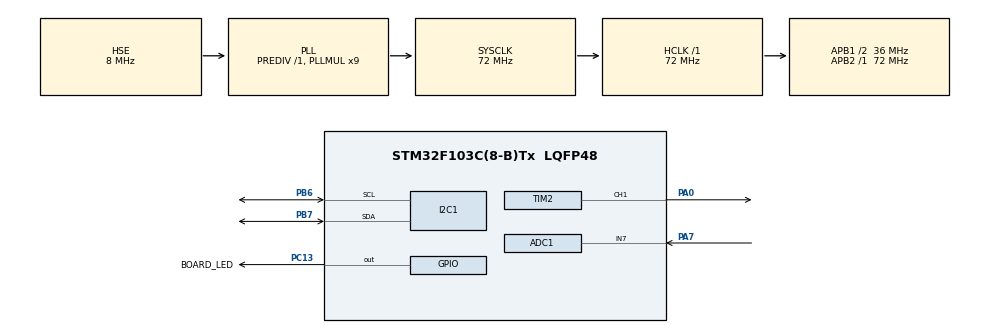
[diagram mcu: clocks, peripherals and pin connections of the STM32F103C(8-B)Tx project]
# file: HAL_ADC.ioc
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ADC1.Channel-0\#ChannelRegularConversion=ADC_CHANNEL_7
ADC1.NbrOfConversionFlag=1
ADC1.Rank-0\#ChannelRegularConversion=1
ADC1.SamplingTime-0\#ChannelRegularConversion=ADC_SAMPLETIME_1CYCLE_5
ADC1.master=1
Mcu.Family=STM32F1
Mcu.Name=STM32F103C(8-B)Tx
Mcu.Package=LQFP48
NVIC.ADC1_2_IRQn=true\:0\:0\:false\:false\:true\:true\:true\:true
NVIC.PriorityGroup=NVIC_PRIORITYGROUP_4
PA0-WKUP.Signal=S_TIM2_CH1_ETR
PA13.Mode=Trace_Asynchronous_SW
PA13.Signal=SYS_JTMS-SWDIO
PA14.Mode=Trace_Asynchronous_SW
PA14.Signal=SYS_JTCK-SWCLK
PA7.Signal=ADCx_IN7
PB3.Mode=Trace_Asynchronous_SW
PB3.Signal=SYS_JTDO-TRACESWO
PB6.Mode=I2C
PB6.Signal=I2C1_SCL
PB7.Mode=I2C
PB7.Signal=I2C1_SDA
PC13-TAMPER-RTC.GPIO_Label=BOARD_LED
PC13-TAMPER-RTC.Signal=GPIO_Output
PD0-OSC_IN.Mode=HSE-External-Oscillator
PD0-OSC_IN.Signal=RCC_OSC_IN
PD1-OSC_OUT.Mode=HSE-External-Oscillator
PD1-OSC_OUT.Signal=RCC_OSC_OUT
ProjectManager.HeapSize=0x200
ProjectManager.StackSize=0x400
ProjectManager.TargetToolchain=STM32CubeIDE
RCC.ADCPresc=RCC_ADCPCLK2_DIV6
RCC.AHBFreq_Value=72000000
RCC.APB1CLKDivider=RCC_HCLK_DIV2
RCC.APB1Freq_Value=36000000
RCC.APB1TimFreq_Value=72000000
RCC.APB2Freq_Value=72000000
RCC.APB2TimFreq_Value=72000000
RCC.HCLKFreq_Value=72000000
RCC.PLLMUL=RCC_PLL_MUL9
RCC.PLLSourceVirtual=RCC_PLLSOURCE_HSE
RCC.SYSCLKFreq_VALUE=72000000
RCC.SYSCLKSource=RCC_SYSCLKSOURCE_PLLCLK
RCC.USBFreq_Value=72000000
SH.ADCx_IN7.0=ADC1_IN7,IN7
SH.S_TIM2_CH1_ETR.0=TIM2_CH1,PWM Generation1 CH1
TIM2.AutoReloadPreload=TIM_AUTORELOAD_PRELOAD_ENABLE
TIM2.Channel-PWM\ Generation1\ CH1=TIM_CHANNEL_1
TIM2.ClockDivision=TIM_CLOCKDIVISION_DIV1
TIM2.Period=0x4000
TIM2.Prescaler=0
VP_TIM2_VS_ClockSourceINT.Mode=Internal
board=custom

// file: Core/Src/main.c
/* USER CODE BEGIN Header */
/**
 ******************************************************************************
 * @file           : main.c
 * @brief          : Main program body
 ******************************************************************************
 * @attention
 *
 * Copyright (c) 2023 STMicroelectronics.
 * All rights reserved.
 *
 * This software is licensed under terms that can be found in the LICENSE file
 * in the root directory of this software component.
 * If no LICENSE file comes with this software, it is provided AS-IS.
 *
 ******************************************************************************
 */
/* USER CODE END Header */
#include "main.h"

/* USER CODE BEGIN Includes */
#include "lcd_i2c.h"
/* USER CODE END Includes */

ADC_HandleTypeDef hadc1;

I2C_HandleTypeDef hi2c1;

TIM_HandleTypeDef htim2;

/* USER CODE BEGIN PV */
uint8_t row = 0;
/* USER CODE END PV */

void SystemClock_Config(void);
static void MX_GPIO_Init(void);
static void MX_ADC1_Init(void);
static void MX_I2C1_Init(void);
static void MX_TIM2_Init(void);

/* USER CODE BEGIN 0 */
// https://deepbluembedded.com/stm32-adc-read-example-dma-interrupt-polling/
LCD_I2C_Struct *LCD_I2C;
/* USER CODE END 0 */

int main(void)
{
  /* USER CODE BEGIN 1 */
	uint16_t AD_RES = 0;
  /* USER CODE END 1 */

  /* MCU Configuration--------------------------------------------------------*/

  /* Reset of all peripherals, Initializes the Flash interface and the Systick. */
  HAL_Init();

  /* Configure the system clock */
  SystemClock_Config();

  /* Initialize all configured peripherals */
  MX_GPIO_Init();
  MX_ADC1_Init();
  MX_I2C1_Init();
  MX_TIM2_Init();
  /* USER CODE BEGIN 2 */
	HAL_TIM_PWM_Start(&htim2, TIM_CHANNEL_1);
// Calibrate The ADC On Power-Up For Better Accuracy
	HAL_ADCEx_Calibration_Start(&hadc1);

	LCD_I2C = new_LCD_I2C_Struct(0x23, 3, POSITIVE);
	LCD_I2C_begin(LCD_I2C, 20, 4);

	LCD_I2C_clear(LCD_I2C);
	LCD_I2C_printStr(LCD_I2C, "ADC Starts");
//LCD_autoscroll(LCD_I2C);
  /* USER CODE END 2 */

  /* Infinite loop */
	while (1) {

    /* USER CODE BEGIN 3 */
		// Start ADC Conversion
		HAL_ADC_Start_IT(&hadc1);
		// Poll ADC1 Perihperal & TimeOut = 1mSec
		HAL_ADC_PollForConversion(&hadc1, 1);
		// Read The ADC Conversion Result & Map It To PWM DutyCycle
		AD_RES = HAL_ADC_GetValue(&hadc1);

		TIM2->CCR1 = (AD_RES << 4);
		//TIM2->ARR = 100;
		HAL_Delay(500);
		printf("Value is %d %d \n", AD_RES, AD_RES/10);
	}
  /* USER CODE END 3 */
}

void SystemClock_Config(void)
{
  RCC_OscInitTypeDef RCC_OscInitStruct = {0};
  RCC_ClkInitTypeDef RCC_ClkInitStruct = {0};
  RCC_PeriphCLKInitTypeDef PeriphClkInit = {0};

  /** Initializes the RCC Oscillators according to the specified parameters
  * in the RCC_OscInitTypeDef structure.
  */
  RCC_OscInitStruct.OscillatorType = RCC_OSCILLATORTYPE_HSE;
  RCC_OscInitStruct.HSEState = RCC_HSE_ON;
  RCC_OscInitStruct.HSEPredivValue = RCC_HSE_PREDIV_DIV1;
  RCC_OscInitStruct.HSIState = RCC_HSI_ON;
  RCC_OscInitStruct.PLL.PLLState = RCC_PLL_ON;
  RCC_OscInitStruct.PLL.PLLSource = RCC_PLLSOURCE_HSE;
  RCC_OscInitStruct.PLL.PLLMUL = RCC_PLL_MUL9;
  if (HAL_RCC_OscConfig(&RCC_OscInitStruct) != HAL_OK)
  {
    Error_Handler();
  }

  /** Initializes the CPU, AHB and APB buses clocks
  */
  RCC_ClkInitStruct.ClockType = RCC_CLOCKTYPE_HCLK|RCC_CLOCKTYPE_SYSCLK
                              |RCC_CLOCKTYPE_PCLK1|RCC_CLOCKTYPE_PCLK2;
  RCC_ClkInitStruct.SYSCLKSource = RCC_SYSCLKSOURCE_PLLCLK;
  RCC_ClkInitStruct.AHBCLKDivider = RCC_SYSCLK_DIV1;
  RCC_ClkInitStruct.APB1CLKDivider = RCC_HCLK_DIV2;
  RCC_ClkInitStruct.APB2CLKDivider = RCC_HCLK_DIV1;

  if (HAL_RCC_ClockConfig(&RCC_ClkInitStruct, FLASH_LATENCY_2) != HAL_OK)
  {
    Error_Handler();
  }
  PeriphClkInit.PeriphClockSelection = RCC_PERIPHCLK_ADC;
  PeriphClkInit.AdcClockSelection = RCC_ADCPCLK2_DIV6;
  if (HAL_RCCEx_PeriphCLKConfig(&PeriphClkInit) != HAL_OK)
  {
    Error_Handler();
  }
}

static void MX_ADC1_Init(void)
{

  ADC_ChannelConfTypeDef sConfig = {0};

  /** Common config
  */
  hadc1.Instance = ADC1;
  hadc1.Init.ScanConvMode = ADC_SCAN_DISABLE;
  hadc1.Init.ContinuousConvMode = DISABLE;
  hadc1.Init.DiscontinuousConvMode = DISABLE;
  hadc1.Init.ExternalTrigConv = ADC_SOFTWARE_START;
  hadc1.Init.DataAlign = ADC_DATAALIGN_RIGHT;
  hadc1.Init.NbrOfConversion = 1;
  if (HAL_ADC_Init(&hadc1) != HAL_OK)
  {
    Error_Handler();
  }

  /** Configure Regular Channel
  */
  sConfig.Channel = ADC_CHANNEL_7;
  sConfig.Rank = ADC_REGULAR_RANK_1;
  sConfig.SamplingTime = ADC_SAMPLETIME_1CYCLE_5;
  if (HAL_ADC_ConfigChannel(&hadc1, &sConfig) != HAL_OK)
  {
    Error_Handler();
  }

}

static void MX_I2C1_Init(void)
{

  hi2c1.Instance = I2C1;
  hi2c1.Init.ClockSpeed = 100000;
  hi2c1.Init.DutyCycle = I2C_DUTYCYCLE_2;
  hi2c1.Init.OwnAddress1 = 0;
  hi2c1.Init.AddressingMode = I2C_ADDRESSINGMODE_7BIT;
  hi2c1.Init.DualAddressMode = I2C_DUALADDRESS_DISABLE;
  hi2c1.Init.OwnAddress2 = 0;
  hi2c1.Init.GeneralCallMode = I2C_GENERALCALL_DISABLE;
  hi2c1.Init.NoStretchMode = I2C_NOSTRETCH_DISABLE;
  if (HAL_I2C_Init(&hi2c1) != HAL_OK)
  {
    Error_Handler();
  }

}

static void MX_TIM2_Init(void)
{

  TIM_ClockConfigTypeDef sClockSourceConfig = {0};
  TIM_MasterConfigTypeDef sMasterConfig = {0};
  TIM_OC_InitTypeDef sConfigOC = {0};

  htim2.Instance = TIM2;
  htim2.Init.Prescaler = 0;
  htim2.Init.CounterMode = TIM_COUNTERMODE_UP;
  htim2.Init.Period = 0x4000;
  htim2.Init.ClockDivision = TIM_CLOCKDIVISION_DIV1;
  htim2.Init.AutoReloadPreload = TIM_AUTORELOAD_PRELOAD_ENABLE;
  if (HAL_TIM_Base_Init(&htim2) != HAL_OK)
  {
    Error_Handler();
  }
  sClockSourceConfig.ClockSource = TIM_CLOCKSOURCE_INTERNAL;
  if (HAL_TIM_ConfigClockSource(&htim2, &sClockSourceConfig) != HAL_OK)
  {
    Error_Handler();
  }
  if (HAL_TIM_PWM_Init(&htim2) != HAL_OK)
  {
    Error_Handler();
  }
  sMasterConfig.MasterOutputTrigger = TIM_TRGO_RESET;
  sMasterConfig.MasterSlaveMode = TIM_MASTERSLAVEMODE_DISABLE;
  if (HAL_TIMEx_MasterConfigSynchronization(&htim2, &sMasterConfig) != HAL_OK)
  {
    Error_Handler();
  }
  sConfigOC.OCMode = TIM_OCMODE_PWM1;
  sConfigOC.Pulse = 0;
  sConfigOC.OCPolarity = TIM_OCPOLARITY_HIGH;
  sConfigOC.OCFastMode = TIM_OCFAST_DISABLE;
  if (HAL_TIM_PWM_ConfigChannel(&htim2, &sConfigOC, TIM_CHANNEL_1) != HAL_OK)
  {
    Error_Handler();
  }
  HAL_TIM_MspPostInit(&htim2);

}

static void MX_GPIO_Init(void)
{
  GPIO_InitTypeDef GPIO_InitStruct = {0};

  /* GPIO Ports Clock Enable */
  __HAL_RCC_GPIOC_CLK_ENABLE();
  __HAL_RCC_GPIOD_CLK_ENABLE();
  __HAL_RCC_GPIOA_CLK_ENABLE();
  __HAL_RCC_GPIOB_CLK_ENABLE();

  /*Configure GPIO pin Output Level */
  HAL_GPIO_WritePin(BOARD_LED_GPIO_Port, BOARD_LED_Pin, GPIO_PIN_RESET);

  /*Configure GPIO pin : BOARD_LED_Pin */
  GPIO_InitStruct.Pin = BOARD_LED_Pin;
  GPIO_InitStruct.Mode = GPIO_MODE_OUTPUT_PP;
  GPIO_InitStruct.Pull = GPIO_NOPULL;
  GPIO_InitStruct.Speed = GPIO_SPEED_FREQ_LOW;
  HAL_GPIO_Init(BOARD_LED_GPIO_Port, &GPIO_InitStruct);

}

/* USER CODE BEGIN 4 */
int _write(int32_t file, uint8_t *ptr, int32_t len) {

	for (int i = 0; i < len; i++) {
		if (*ptr != '\n')
			LCD_print(LCD_I2C, *ptr);
		else{
			int rpad = 21 - len;
			while (rpad--)
				LCD_print(LCD_I2C, ' ');
			row = ++row % 4;
			LCD_setCursor(LCD_I2C, 0, row);
		}
		ITM_SendChar(*ptr++);
	}

	return len;
}
/* USER CODE END 4 */

void Error_Handler(void)
{
	__disable_irq();
	while (1) {
	}
}
